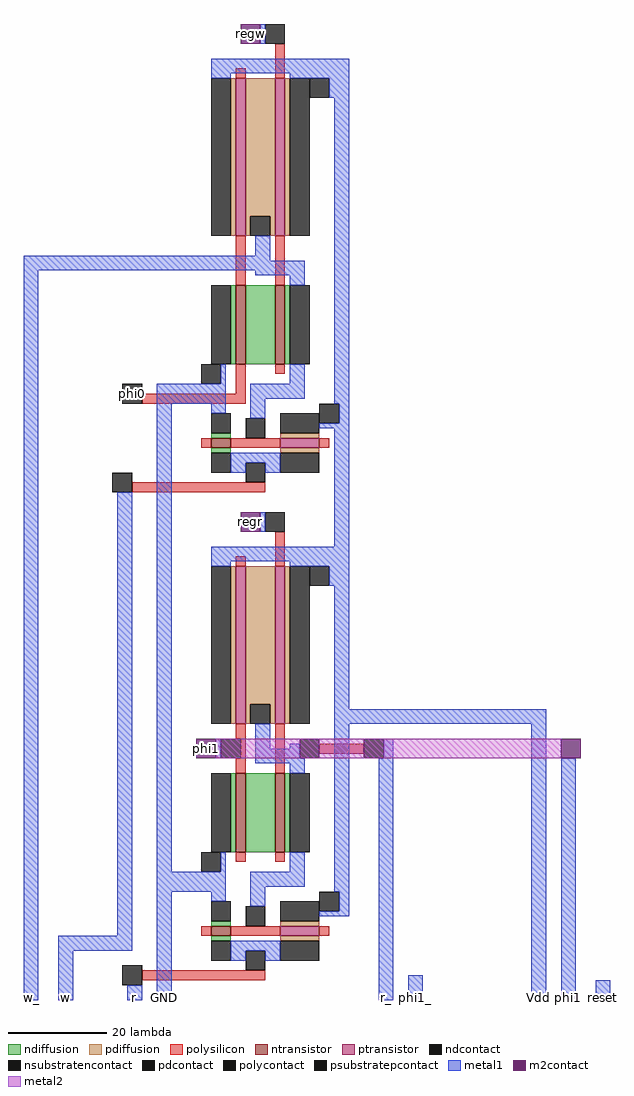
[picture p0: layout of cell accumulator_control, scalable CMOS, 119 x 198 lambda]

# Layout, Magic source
magic
tech scmos
<< polysilicon >>
rect 11 -37 13 -35
rect 19 -37 21 -30
rect 11 -79 13 -69
rect 19 -79 21 -69
rect 11 -101 13 -95
rect 19 -97 21 -95
rect -8 -103 13 -101
rect 4 -112 6 -110
rect 10 -112 20 -110
rect 28 -112 30 -110
rect -10 -121 17 -119
rect 11 -136 13 -134
rect 19 -136 21 -129
rect 11 -171 13 -168
rect 12 -175 13 -171
rect 11 -178 13 -175
rect 19 -178 21 -168
rect 28 -174 37 -172
rect 11 -196 13 -194
rect 19 -196 21 -194
rect 4 -211 6 -209
rect 10 -211 20 -209
rect 28 -211 30 -209
rect -8 -220 17 -218
<< ndiffusion >>
rect 10 -95 11 -79
rect 13 -95 19 -79
rect 21 -95 22 -79
rect 6 -110 10 -109
rect 6 -113 10 -112
rect 10 -194 11 -178
rect 13 -194 19 -178
rect 21 -194 22 -178
rect 6 -209 10 -208
rect 6 -212 10 -211
<< pdiffusion >>
rect 10 -69 11 -37
rect 13 -65 19 -37
rect 13 -69 14 -65
rect 18 -69 19 -65
rect 21 -69 22 -37
rect 20 -110 28 -109
rect 20 -113 28 -112
rect 10 -168 11 -136
rect 13 -164 19 -136
rect 13 -168 14 -164
rect 18 -168 19 -164
rect 21 -168 22 -136
rect 20 -209 28 -208
rect 20 -212 28 -211
<< metal1 >>
rect 16 -30 17 -26
rect 6 -36 34 -33
rect 6 -37 10 -36
rect 22 -37 34 -36
rect 30 -41 34 -37
rect 15 -73 18 -69
rect -32 -74 18 -73
rect -32 -76 25 -74
rect -32 -224 -29 -76
rect 15 -77 25 -76
rect 22 -79 25 -77
rect 8 -99 9 -95
rect 22 -99 25 -95
rect -5 -103 9 -99
rect -13 -211 -10 -121
rect -25 -214 -10 -211
rect -5 -198 -2 -103
rect 6 -105 9 -103
rect 14 -102 25 -99
rect 14 -106 17 -102
rect 31 -103 34 -41
rect 32 -107 34 -103
rect 28 -108 34 -107
rect 10 -115 20 -113
rect 10 -117 13 -115
rect 17 -117 20 -115
rect 16 -129 17 -125
rect 31 -132 34 -108
rect 6 -135 34 -132
rect 6 -136 10 -135
rect 22 -136 34 -135
rect 30 -140 34 -136
rect 31 -165 34 -140
rect 31 -168 74 -165
rect 7 -175 8 -171
rect 15 -173 18 -168
rect 22 -173 24 -172
rect 15 -175 24 -173
rect 15 -176 25 -175
rect 22 -178 25 -176
rect 8 -198 9 -194
rect 22 -198 25 -194
rect -5 -202 9 -198
rect -25 -224 -22 -214
rect -11 -224 -8 -221
rect -5 -224 -2 -202
rect 6 -204 9 -202
rect 14 -201 25 -198
rect 14 -205 17 -201
rect 31 -202 34 -168
rect 41 -175 43 -171
rect 32 -206 34 -202
rect 28 -207 34 -206
rect 10 -214 20 -212
rect 10 -216 13 -214
rect 17 -216 20 -214
rect 40 -224 43 -175
rect 46 -224 49 -219
rect 71 -224 74 -168
rect 77 -224 80 -175
rect 84 -224 87 -220
<< metal2 >>
rect 7 -175 77 -171
<< ntransistor >>
rect 11 -95 13 -79
rect 19 -95 21 -79
rect 6 -112 10 -110
rect 11 -194 13 -178
rect 19 -194 21 -178
rect 6 -211 10 -209
<< ptransistor >>
rect 11 -69 13 -37
rect 19 -69 21 -37
rect 20 -112 28 -110
rect 11 -168 13 -136
rect 19 -168 21 -136
rect 20 -211 28 -209
<< polycontact >>
rect 17 -30 21 -26
rect -12 -103 -8 -99
rect 13 -110 17 -106
rect -14 -121 -10 -117
rect 13 -119 17 -115
rect 17 -129 21 -125
rect 8 -175 12 -171
rect 24 -175 28 -171
rect 37 -175 41 -171
rect 13 -209 17 -205
rect -12 -221 -8 -217
rect 13 -218 17 -214
<< ndcontact >>
rect 6 -95 10 -79
rect 22 -95 26 -79
rect 6 -109 10 -105
rect 6 -117 10 -113
rect 6 -194 10 -178
rect 22 -194 26 -178
rect 6 -208 10 -204
rect 6 -216 10 -212
<< pdcontact >>
rect 6 -69 10 -37
rect 14 -69 18 -65
rect 22 -69 26 -37
rect 20 -109 28 -105
rect 20 -117 28 -113
rect 6 -168 10 -136
rect 14 -168 18 -164
rect 22 -168 26 -136
rect 20 -208 28 -204
rect 20 -216 28 -212
<< m2contact >>
rect 12 -30 16 -26
rect 12 -129 16 -125
rect 3 -175 7 -171
rect 77 -175 81 -171
<< psubstratepcontact >>
rect 4 -99 8 -95
rect 4 -198 8 -194
<< nsubstratencontact >>
rect 26 -41 30 -37
rect 28 -107 32 -103
rect 26 -140 30 -136
rect 28 -206 32 -202
<< labels >>
rlabel metal1 -32 -224 -29 -223 3 w_
rlabel metal1 -25 -224 -22 -223 1 w
rlabel metal1 -11 -224 -8 -223 1 r
rlabel metal1 -5 -224 -2 -223 1 GND
rlabel metal1 40 -224 43 -223 1 r_
rlabel metal1 46 -224 49 -223 1 phi1_
rlabel metal1 71 -224 74 -223 1 Vdd
rlabel metal1 77 -224 80 -223 1 phi1
rlabel metal1 84 -224 87 -223 7 reset
rlabel m2contact 3 -175 7 -171 1 phi1
rlabel m2contact 12 -129 16 -125 1 regr
rlabel polycontact -12 -103 -8 -99 1 phi0
rlabel m2contact 12 -30 16 -26 5 regw
<< end >>
